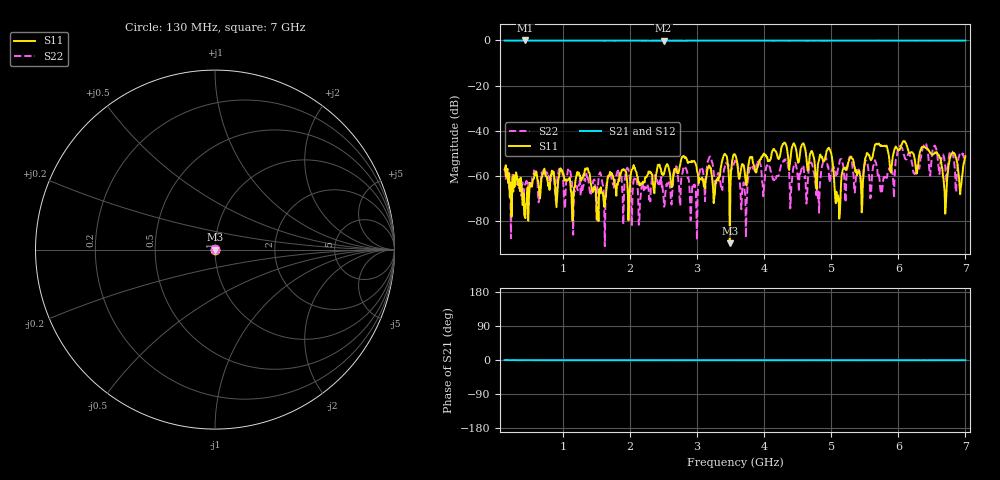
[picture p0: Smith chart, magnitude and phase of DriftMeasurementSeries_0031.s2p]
# Hz S RI R 50.000000
! Metas.Vna.Tools, 2.8.8664.20301
! Metas.Vna.Data, 2.8.8664.20285
! Created: UTC 2024.02.11 10:08:15
! FREQ  re:S1,1  im:S1,1  re:S2,1  im:S2,1  re:S1,2  im:S1,2  re:S2,2  im:S2,2
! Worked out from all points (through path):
!   801 points, 130 MHz to 7 GHz, reference 50 ohm
!   highest |S21| = 0.01 dB at 439.1 MHz (marker M1); lowest = -0.1 dB at 2.5 GHz (marker M2)
!   lowest |S11| = -89.8 dB at 3.488 GHz (marker M3), VSWR 1.00, Z = 50 + j0.00142 ohm
!   |S11| at or under -10 dB: start of sweep to end of sweep
!   |S22| runs from -91.1 to -45.5 dB; largest |S21 - S12| = 0.014
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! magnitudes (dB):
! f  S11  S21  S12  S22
! 130 MHz  -57.1  0.0  0.0  -58.0
! 439.1 MHz  -78.7  0.0  0.0  -63.4
! 1.281 GHz  -60.8  0.0  0.0  -64.4
! 1.521 GHz  -74.0  -0.1  0.0  -65.1
! 2.423 GHz  -55.0  -0.1  0.0  -63.6
! 2.5 GHz  -59.4  -0.1  0.0  -69.9
! 3.488 GHz  -89.8  -0.1  0.0  -56.9
! 3.565 GHz  -50.5  -0.1  0.0  -53.2
! 3.694 GHz  -55.2  -0.1  0.0  -62.8
! 3.917 GHz  -54.6  -0.1  0.0  -53.9
! 4.716 GHz  -49.2  -0.1  0.0  -55.1
! 4.793 GHz  -59.0  -0.1  0.0  -66.2
! 4.973 GHz  -48.0  -0.1  0.0  -62.9
! 5.102 GHz  -68.7  -0.1  0.0  -56.6
! 5.291 GHz  -51.4  0.0  0.0  -51.5
! 5.446 GHz  -64.9  -0.1  0.0  -65.5
! 5.678 GHz  -45.7  0.0  0.0  -56.2
! 5.858 GHz  -50.7  0.0  0.0  -57.9
! 6.571 GHz  -49.4  -0.1  0.0  -48.5
! 6.699 GHz  -76.7  0.0  0.0  -55.4
! 6.802 GHz  -50.0  0.0  0.0  -49.1
! 7 GHz  -51.3  -0.1  0.0  -53.3
